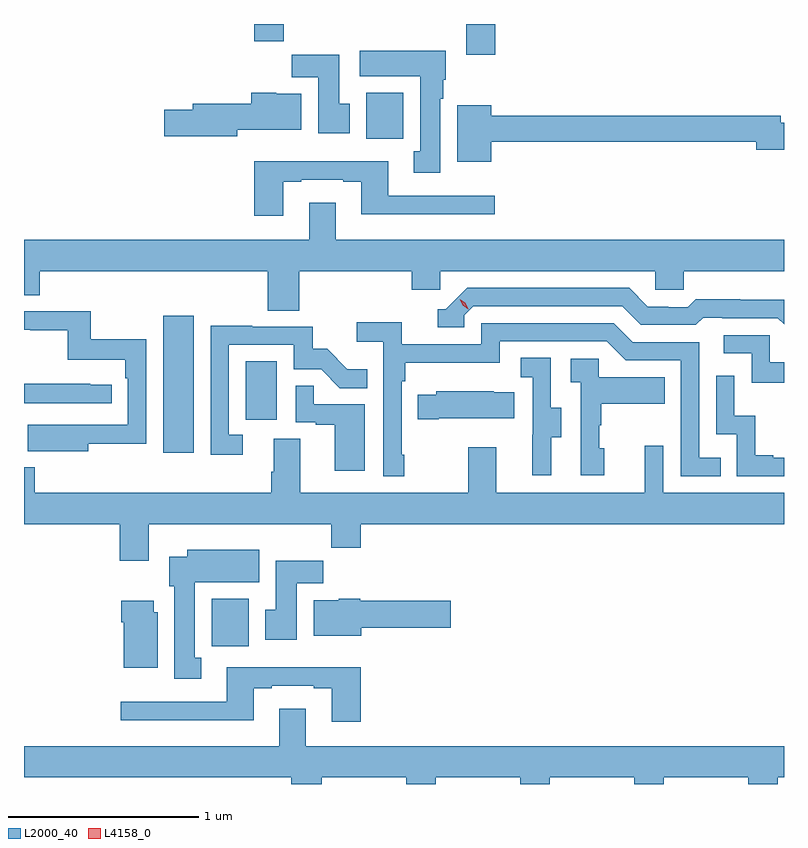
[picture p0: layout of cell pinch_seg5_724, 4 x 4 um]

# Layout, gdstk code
import gdstk
lib = gdstk.Library(unit=1e-6, precision=1e-09)
def R(c, l, rs):  # rectangles x0, y0, x1, y1
    for r in rs: c.add(gdstk.rectangle(r[:2], r[2:], *l))
def P(c, l, *ps):  # polygons
    for p in ps: c.add(gdstk.Polygon(p, *l))
L2000_40 = (2000, 40)
L4158_0 = (4158, 0)

pinch_seg5_724 = lib.new_cell('pinch_seg5_724')
R(pinch_seg5_724, L2000_40, [(1102.647,848.124,1102.843,848.374), (1102.391,849.144,1102.552,849.865), (1102.826,849.318,1102.99,849.625), (1103.459,850.796,1103.656,851.038), (1103.987,851.238,1104.14,851.4), (1102.871,851.308,1103.027,851.4)])
P(pinch_seg5_724, L2000_40, [(1103.851,851.006),(1103.866,851.006),(1103.866,851.106),(1103.878,851.106),(1103.878,851.26),(1103.427,851.26),(1103.427,851.126),(1103.744,851.126),(1103.744,850.73),(1103.711,850.73),(1103.711,850.617),(1103.851,850.617)],
  [(1103.374,850.98),(1103.317,850.98),(1103.317,851.239),(1103.068,851.239),(1103.068,851.12),(1103.207,851.12),(1103.207,850.824),(1103.374,850.824)],
  [(1102.782,850.844),(1103.119,850.844),(1103.119,851.032),(1102.986,851.032),(1102.986,851.038),(1102.856,851.038),(1102.856,850.98),(1102.547,850.98),(1102.547,850.95),(1102.398,850.95),(1102.398,850.808),(1102.782,850.808)],
  [(1104.118,850.78),(1105.514,850.78),(1105.514,850.738),(1105.659,850.738),(1105.659,850.88),(1105.642,850.88),(1105.642,850.916),(1104.118,850.916),(1104.118,850.972),(1103.939,850.972),(1103.939,850.676),(1104.118,850.676)],
  [(1103.023,850.569),(1103.119,850.569),(1103.119,850.581),(1103.339,850.581),(1103.339,850.569),(1103.435,850.569),(1103.435,850.4),(1104.136,850.4),(1104.136,850.497),(1103.575,850.497),(1103.575,850.678),(1102.871,850.678),(1102.871,850.392),(1103.023,850.392)],
  [(1101.659,849.973),(1101.743,849.973),(1101.743,850.1),(1102.943,850.1),(1102.943,849.892),(1103.108,849.892),(1103.108,850.1),(1103.699,850.1),(1103.699,850.002),(1103.85,850.002),(1103.85,850.1),(1104.981,850.1),(1104.981,850.002),(1105.131,850.002),(1105.131,850.1),(1105.659,850.1),(1105.659,850.264),(1103.299,850.264),(1103.299,850.459),(1103.159,850.459),(1103.159,850.264),(1101.659,850.264)],
  [(1103.976,849.867),(1104.024,849.915),(1104.807,849.915),(1104.906,849.816),(1105.195,849.816),(1105.234,849.855),(1105.333,849.855),(1105.333,849.852),(1105.626,849.852),(1105.659,849.819),(1105.659,849.949),(1105.428,849.949),(1105.428,849.952),(1105.195,849.952),(1105.153,849.909),(1105.05,849.909),(1105.05,849.912),(1104.943,849.912),(1104.844,850.011),(1103.991,850.011),(1103.88,849.9),(1103.837,849.9),(1103.837,849.804),(1103.976,849.804)],
  [(1101.997,849.19),(1102.302,849.19),(1102.302,849.742),(1102.009,849.742),(1102.009,849.888),(1101.659,849.888),(1101.659,849.792),(1101.691,849.792),(1101.691,849.787),(1101.888,849.787),(1101.888,849.632),(1102.193,849.632),(1102.193,849.536),(1102.206,849.536),(1102.206,849.291),(1101.893,849.291),(1101.893,849.292),(1101.679,849.292),(1101.679,849.152),(1101.997,849.152)],
  [(1103.659,849.133),(1103.646,849.133),(1103.646,849.521),(1103.666,849.521),(1103.666,849.617),(1104.162,849.617),(1104.162,849.729),(1104.726,849.729),(1104.825,849.63),(1105.116,849.63),(1105.116,849.021),(1105.325,849.021),(1105.325,849.117),(1105.212,849.117),(1105.212,849.726),(1104.862,849.726),(1104.763,849.825),(1104.066,849.825),(1104.066,849.714),(1103.648,849.714),(1103.648,849.83),(1103.409,849.83),(1103.409,849.728),(1103.55,849.728),(1103.55,849.021),(1103.659,849.021)],
  [(1102.81,849.237),(1102.737,849.237),(1102.737,849.711),(1103.079,849.711),(1103.079,849.582),(1103.223,849.582),(1103.321,849.484),(1103.465,849.484),(1103.465,849.583),(1103.361,849.583),(1103.254,849.69),(1103.178,849.69),(1103.178,849.807),(1102.859,849.807),(1102.859,849.812),(1102.641,849.812),(1102.641,849.132),(1102.81,849.132)],
  [(1105.659,849.621),(1105.584,849.621),(1105.584,849.762),(1105.341,849.762),(1105.341,849.666),(1105.488,849.666),(1105.488,849.513),(1105.659,849.513)],
  [(1104.433,849.226),(1104.487,849.226),(1104.487,849.381),(1104.432,849.381),(1104.432,849.644),(1104.273,849.644),(1104.273,849.541),(1104.336,849.541),(1104.336,849.237),(1104.335,849.237),(1104.335,849.024),(1104.433,849.024)],
  [(1104.712,849.168),(1104.687,849.168),(1104.687,849.287),(1104.697,849.287),(1104.697,849.401),(1105.031,849.401),(1105.031,849.541),(1104.684,849.541),(1104.684,849.639),(1104.537,849.639),(1104.537,849.515),(1104.588,849.515),(1104.588,849.024),(1104.712,849.024)],
  [(1105.659,849.117),(1105.603,849.117),(1105.603,849.13),(1105.508,849.13),(1105.508,849.338),(1105.398,849.338),(1105.398,849.55),(1105.302,849.55),(1105.302,849.24),(1105.41,849.24),(1105.41,849.021),(1105.659,849.021)],
  [(1102.12,849.501),(1102.007,849.501),(1102.007,849.506),(1101.659,849.506),(1101.659,849.405),(1102.12,849.405)],
  [(1103.452,849.399),(1103.183,849.399),(1103.183,849.497),(1103.088,849.497),(1103.088,849.303),(1103.195,849.303),(1103.195,849.291),(1103.294,849.291),(1103.294,849.048),(1103.452,849.048)],
  [(1103.842,849.326),(1104.239,849.326),(1104.239,849.463),(1104.131,849.463),(1104.131,849.466),(1103.829,849.466),(1103.829,849.448),(1103.731,849.448),(1103.731,849.319),(1103.842,849.319)],
  [(1102.315,848.768),(1103.275,848.768),(1103.275,848.644),(1103.432,848.644),(1103.432,848.768),(1105.659,848.768),(1105.659,848.932),(1105.023,848.932),(1105.023,849.181),(1104.926,849.181),(1104.926,848.932),(1104.145,848.932),(1104.145,849.172),(1103.998,849.172),(1103.998,848.932),(1103.113,848.932),(1103.113,849.218),(1102.973,849.218),(1102.973,849.044),(1102.961,849.044),(1102.961,848.932),(1101.716,848.932),(1101.716,849.067),(1101.659,849.067),(1101.659,848.768),(1102.163,848.768),(1102.163,848.574),(1102.315,848.574)],
  [(1102.591,848.065),(1102.558,848.065),(1102.558,848.462),(1102.897,848.462),(1102.897,848.632),(1102.517,848.632),(1102.517,848.596),(1102.424,848.596),(1102.424,848.442),(1102.451,848.442),(1102.451,847.953),(1102.591,847.953)],
  [(1103.095,848.456),(1103.234,848.456),(1103.234,848.574),(1102.985,848.574),(1102.985,848.316),(1102.928,848.316),(1102.928,848.16),(1103.095,848.16)],
  [(1103.434,848.222),(1103.905,848.222),(1103.905,848.364),(1103.43,848.364),(1103.43,848.374),(1103.316,848.374),(1103.316,848.368),(1103.183,848.368),(1103.183,848.18),(1103.434,848.18)],
  [(1102.363,848.304),(1102.342,848.304),(1102.342,848.365),(1102.172,848.365),(1102.172,848.252),(1102.184,848.252),(1102.184,848.012),(1102.363,848.012)],
  [(1103.432,848.014),(1102.727,848.014),(1102.727,847.833),(1102.167,847.833),(1102.167,847.736),(1102.867,847.736),(1102.867,847.905),(1102.963,847.905),(1102.963,847.917),(1103.183,847.917),(1103.183,847.905),(1103.279,847.905),(1103.279,847.728),(1103.432,847.728)],
  [(1103.226,847.436),(1103.671,847.436),(1103.671,847.4),(1103.826,847.4),(1103.826,847.436),(1104.271,847.436),(1104.271,847.4),(1104.426,847.4),(1104.426,847.436),(1104.871,847.436),(1104.871,847.4),(1105.026,847.4),(1105.026,847.436),(1105.471,847.436),(1105.471,847.4),(1105.626,847.4),(1105.626,847.436),(1105.659,847.436),(1105.659,847.6),(1103.143,847.6),(1103.143,847.795),(1103.003,847.795),(1103.003,847.6),(1101.659,847.6),(1101.659,847.436),(1103.066,847.436),(1103.066,847.4),(1103.226,847.4)])
P(pinch_seg5_724, L4158_0, [(1103.998,849.899),(1103.968,849.919),(1103.952,849.951),(1103.952,849.952),(1103.952,849.952),(1103.982,849.932),(1103.998,849.9),(1103.998,849.899)])

lib.write_gds('pinch_seg5_724.gds')
